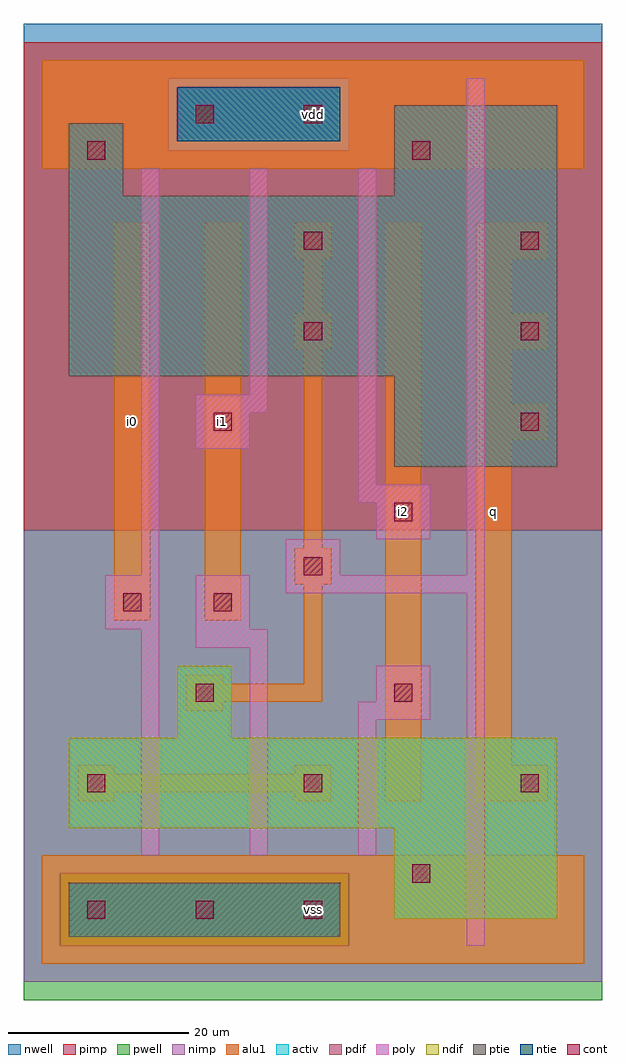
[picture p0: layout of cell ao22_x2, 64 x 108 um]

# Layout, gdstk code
import gdstk
lib = gdstk.Library(unit=1e-6, precision=1e-09)
def R(c, l, rs):  # rectangles x0, y0, x1, y1
    for r in rs: c.add(gdstk.rectangle(r[:2], r[2:], *l))
def A(c, l, x, y, w, h, nx, ny, dx, dy):  # array of equal rectangles
    R(c, l, [(x+i*dx, y+j*dy, x+i*dx+w, y+j*dy+h) for i in range(nx) for j in range(ny)])
ndif = (3, 0)
pdif = (4, 0)
ntie = (5, 0)
ptie = (6, 0)
cont = (25, 0)
pwell = (41, 0)
nwell = (42, 0)
activ = (43, 0)
pimp = (44, 0)
nimp = (45, 0)
poly = (46, 0)
alu1 = (49, 0)

ao22_x2 = lib.new_cell('ao22_x2')
R(ao22_x2, ndif, [(39,5,57,15), (3,15,57,25), (15,25,21,33)])
R(ao22_x2, pdif, [(39,55,57,65), (3,65,57,85), (3,85,9,93), (39,85,57,95)])
R(ao22_x2, ntie, [(15,91,33,97)])
R(ao22_x2, ptie, [(3,3,33,9)])
A(ao22_x2, cont, 5, 5, 2, 2, 3, 1, 12, 0)
A(ao22_x2, cont, 5, 19, 2, 2, 3, 1, 24, 0)
A(ao22_x2, cont, 53, 59, 2, 2, 1, 3, 0, 10)
R(ao22_x2, cont, [(41,9,43,11), (17,29,19,31), (39,29,41,31), (9,39,11,41), (19,39,21,41), (29,43,31,45), (39,49,41,51), (19,59,21,61), (29,69,31,71), (29,79,31,81), (5,89,7,91), (41,89,43,91), (17,93,19,95), (29,93,31,95)])
R(ao22_x2, pwell, [(-2,-4,62,48)])
R(ao22_x2, nwell, [(-2,48,62,104)])
R(ao22_x2, activ, [(3,3,33,9), (39,5,57,15), (3,15,57,25), (15,25,21,33), (39,55,57,65), (3,65,57,85), (3,85,9,93), (39,85,57,95), (15,91,33,97)])
R(ao22_x2, pimp, [(2,2,34,10), (-2,48,62,90), (-2,90,14,98), (34,90,62,98), (-2,98,62,102)])
R(ao22_x2, nimp, [(-2,-2,62,2), (-2,2,2,10), (34,2,62,10), (-2,10,62,48), (14,90,34,98)])
R(ao22_x2, poly, [(47,2,49,41), (11,12,13,37), (23,12,25,35), (35,12,37,27), (35,27,43,29), (37,29,43,33), (17,35,25,37), (7,37,13,43), (17,37,23,43), (27,41,49,43), (11,43,13,88), (27,43,33,47), (47,43,49,98), (37,47,43,51), (35,51,43,53), (35,53,37,88), (17,57,23,61), (17,61,25,63), (23,63,25,88)])
A(ao22_x2, alu1, 48, 58, 8, 4, 1, 3, 0, 10)
R(ao22_x2, alu1, [(0,0,60,12), (4,18,8,19), (28,18,32,19), (38,18,42,82), (48,18,56,22), (4,19,32,21), (4,21,8,22), (28,21,32,22), (48,22,52,58), (16,28,20,29), (16,29,31,31), (16,31,20,32), (29,31,31,42), (8,38,12,82), (18,38,22,82), (28,42,32,46), (29,46,31,68), (48,62,52,68), (28,68,32,72), (29,72,31,78), (48,72,52,78), (28,78,32,82), (0,88,60,100)])
ao22_x2.add(gdstk.Label('i0', (10,60), layer=49, texttype=0))
ao22_x2.add(gdstk.Label('i1', (20,60), layer=49, texttype=0))
ao22_x2.add(gdstk.Label('vss', (30,6), layer=49, texttype=0))
ao22_x2.add(gdstk.Label('i2', (40,50), layer=49, texttype=0))
ao22_x2.add(gdstk.Label('vdd', (30,94), layer=49, texttype=0))
ao22_x2.add(gdstk.Label('q', (50,50), layer=49, texttype=0))

lib.write_gds('ao22_x2.gds')
